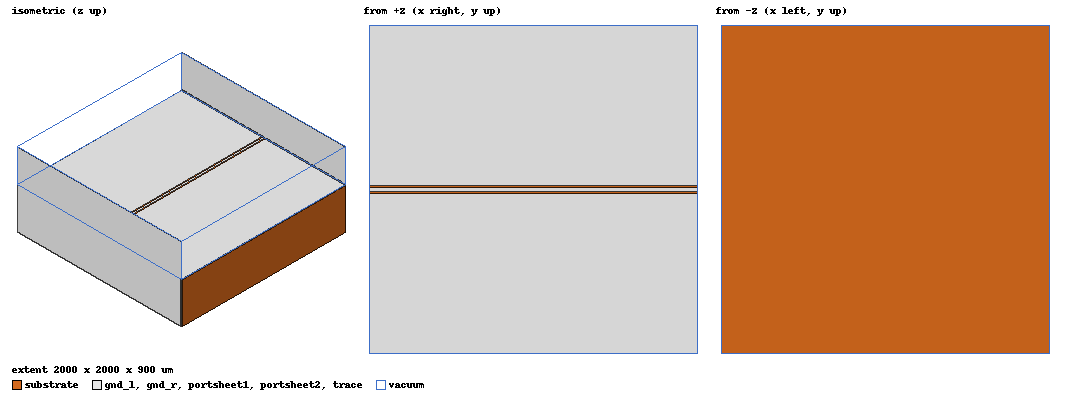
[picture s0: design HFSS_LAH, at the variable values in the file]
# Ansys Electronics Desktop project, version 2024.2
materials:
  vacuum: permittivity=1
  silicon_er1145: permittivity=11.45 permeability=1

design HFSS_LAH (HFSS, HFSS Modal Network, model units um)
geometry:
  substrate [silicon_er1145] = box(corner=(-1000um, -1000um, -500um), size=(2000um, 2000um, 500um))
  vacuum [vacuum] = box(corner=(-1000um, -1000um, 0um), size=(2000um, 2000um, 400um))
  trace = polyline(z=0um, xy in um: (-1000, -10) (1000, -10) (1000, 10) (-1000, 10) (-1000, -10), closed, covered)
  gnd_l = polyline(z=0um, xy in um: (-1000, -1000) (1000, -1000) (1000, -21.5) (-1000, -21.5) (-1000, -1000), closed, covered)
  gnd_r = polyline(z=0um, xy in um: (-1000, 21.5) (1000, 21.5) (1000, 1000) (-1000, 1000) (-1000, 21.5), closed, covered)
  portsheet1 = polyline(x=-1000um, yz in um: (-1000, -500) (1000, -500) (1000, 400) (-1000, 400) (-1000, -500), closed, covered)
  portsheet2 = polyline(x=1000um, yz in um: (-1000, -500) (1000, -500) (1000, 400) (-1000, 400) (-1000, -500), closed, covered)
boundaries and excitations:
  PerfE_trace: Perfect E Objects=trace
  PerfE_gnd: Perfect E Objects=[gnd_l, gnd_r]
  PerfE_backplane: Perfect E Faces=substrate.face(-z)
  p1: Wave Port Objects=portsheet1 WavePortType=Modal NumModes=1 Modes{Mode1{IntLine{(-1000, 0, 0) -> (-1000, 21.5, 0)} CharImp=Zpi}}
  p2: Wave Port Objects=portsheet2 WavePortType=Modal NumModes=1 Modes{Mode1{IntLine{(1000, 0, 0) -> (1000, 21.5, 0)} CharImp=Zpi}}
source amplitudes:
  p1:1: 1W 0deg
  p2:1: 0W 0deg
